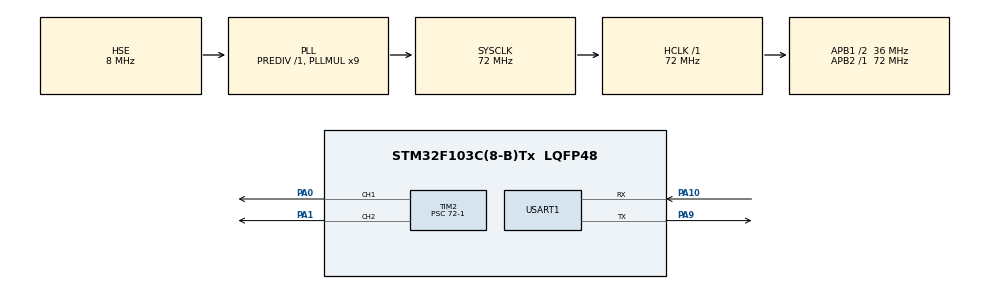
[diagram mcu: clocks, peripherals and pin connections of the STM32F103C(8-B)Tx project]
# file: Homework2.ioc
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Mcu.Family=STM32F1
Mcu.Name=STM32F103C(8-B)Tx
Mcu.Package=LQFP48
NVIC.PriorityGroup=NVIC_PRIORITYGROUP_4
NVIC.USART1_IRQn=true\:0\:0\:false\:false\:true\:true\:true\:true
PA0-WKUP.Signal=S_TIM2_CH1_ETR
PA1.Signal=S_TIM2_CH2
PA10.Mode=Asynchronous
PA10.Signal=USART1_RX
PA13.Mode=Serial_Wire
PA13.Signal=SYS_JTMS-SWDIO
PA14.Mode=Serial_Wire
PA14.Signal=SYS_JTCK-SWCLK
PA9.Mode=Asynchronous
PA9.Signal=USART1_TX
PD0-OSC_IN.Mode=HSE-External-Oscillator
PD0-OSC_IN.Signal=RCC_OSC_IN
PD1-OSC_OUT.Mode=HSE-External-Oscillator
PD1-OSC_OUT.Signal=RCC_OSC_OUT
ProjectManager.HeapSize=0x200
ProjectManager.StackSize=0x400
ProjectManager.TargetToolchain=CMake
RCC.AHBFreq_Value=72000000
RCC.APB1CLKDivider=RCC_HCLK_DIV2
RCC.APB1Freq_Value=36000000
RCC.APB1TimFreq_Value=72000000
RCC.APB2Freq_Value=72000000
RCC.APB2TimFreq_Value=72000000
RCC.HCLKFreq_Value=72000000
RCC.PLLMUL=RCC_PLL_MUL9
RCC.PLLSourceVirtual=RCC_PLLSOURCE_HSE
RCC.SYSCLKFreq_VALUE=72000000
RCC.SYSCLKSource=RCC_SYSCLKSOURCE_PLLCLK
RCC.USBFreq_Value=72000000
SH.S_TIM2_CH1_ETR.0=TIM2_CH1,PWM Generation1 CH1
SH.S_TIM2_CH2.0=TIM2_CH2,PWM Generation2 CH2
TIM2.Channel-PWM\ Generation1\ CH1=TIM_CHANNEL_1
TIM2.Channel-PWM\ Generation2\ CH2=TIM_CHANNEL_2
TIM2.Period=20000-1
TIM2.Prescaler=72-1
TIM2.Pulse-PWM\ Generation1\ CH1=1500
TIM2.Pulse-PWM\ Generation2\ CH2=1500
USART1.VirtualMode=VM_ASYNC
VP_TIM2_VS_ClockSourceINT.Mode=Internal
board=custom

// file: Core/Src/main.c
/* USER CODE BEGIN Header */
/**
  ******************************************************************************
  * @file           : main.c
  * @brief          : Main program body
  ******************************************************************************
  * @attention
  *
  * Copyright (c) 2026 STMicroelectronics.
  * All rights reserved.
  *
  * This software is licensed under terms that can be found in the LICENSE file
  * in the root directory of this software component.
  * If no LICENSE file comes with this software, it is provided AS-IS.
  *
  ******************************************************************************
  */
/* USER CODE END Header */
#include "main.h"

/* USER CODE BEGIN Includes */
#include <stdio.h>
/* USER CODE END Includes */

TIM_HandleTypeDef htim2;

UART_HandleTypeDef huart1;

/* USER CODE BEGIN PV */
uint8_t data;
volatile uint8_t cmd;
volatile uint8_t cmd_flag;
int yaw   = 90;
int pitch = 90;
/* USER CODE END PV */

void SystemClock_Config(void);
static void MX_GPIO_Init(void);
static void MX_TIM2_Init(void);
static void MX_USART1_UART_Init(void);
/* USER CODE BEGIN PFP */
static void servo_write(int y, int p);
/* USER CODE END PFP */

/* USER CODE BEGIN 0 */
static void servo_write(int y, int p)
{
  uint16_t data_y = (uint16_t)(500 + y * 2000 / 180);
  uint16_t data_p = (uint16_t)(500 + p * 2000 / 180);
  __HAL_TIM_SET_COMPARE(&htim2, TIM_CHANNEL_1, data_y);
  __HAL_TIM_SET_COMPARE(&htim2, TIM_CHANNEL_2, data_p);
}

void HAL_UART_RxCpltCallback(UART_HandleTypeDef *huart)
{
  if (huart == &huart1)
  {
    cmd = data;
    cmd_flag = 1;
    HAL_UART_Receive_IT(&huart1, &data, 1);
  }
}
/* USER CODE END 0 */

int main(void)
{

  /* MCU Configuration--------------------------------------------------------*/

  /* Reset of all peripherals, Initializes the Flash interface and the Systick. */
  HAL_Init();

  /* Configure the system clock */
  SystemClock_Config();

  /* Initialize all configured peripherals */
  MX_GPIO_Init();
  MX_TIM2_Init();
  MX_USART1_UART_Init();
  /* USER CODE BEGIN 2 */
  HAL_TIM_PWM_Start(&htim2, TIM_CHANNEL_1);
  HAL_TIM_PWM_Start(&htim2, TIM_CHANNEL_2);
  servo_write(yaw, pitch);
  HAL_UART_Receive_IT(&huart1, &data, 1);
  /* USER CODE END 2 */

  /* Infinite loop */
  while (1)
  {

    /* USER CODE BEGIN 3 */
    if (cmd_flag == 1) {
      int c = cmd;
      cmd_flag = 0;
      int moved = 1;
      switch (c) {
        case 'w': pitch += 5; break;
        case 's': pitch -= 5; break;
        case 'a': yaw   -= 5; break;
        case 'd': yaw   += 5; break;
        case 'r': yaw = 90; pitch = 90; break;
        default: moved = 0; break;
      }
      if (moved) {
        if (yaw < 0)   yaw = 0;
        if (yaw > 180) yaw = 180;
        if (pitch < 0)   pitch = 0;
        if (pitch > 180) pitch = 180;
        servo_write(yaw, pitch);
        printf("Yaw=%d Pitch=%d\r\n", yaw, pitch);
      }

    }
  }
  /* USER CODE END 3 */
}

void SystemClock_Config(void)
{
  RCC_OscInitTypeDef RCC_OscInitStruct = {0};
  RCC_ClkInitTypeDef RCC_ClkInitStruct = {0};

  /** Initializes the RCC Oscillators according to the specified parameters
  * in the RCC_OscInitTypeDef structure.
  */
  RCC_OscInitStruct.OscillatorType = RCC_OSCILLATORTYPE_HSE;
  RCC_OscInitStruct.HSEState = RCC_HSE_ON;
  RCC_OscInitStruct.HSEPredivValue = RCC_HSE_PREDIV_DIV1;
  RCC_OscInitStruct.HSIState = RCC_HSI_ON;
  RCC_OscInitStruct.PLL.PLLState = RCC_PLL_ON;
  RCC_OscInitStruct.PLL.PLLSource = RCC_PLLSOURCE_HSE;
  RCC_OscInitStruct.PLL.PLLMUL = RCC_PLL_MUL9;
  if (HAL_RCC_OscConfig(&RCC_OscInitStruct) != HAL_OK)
  {
    Error_Handler();
  }

  /** Initializes the CPU, AHB and APB buses clocks
  */
  RCC_ClkInitStruct.ClockType = RCC_CLOCKTYPE_HCLK|RCC_CLOCKTYPE_SYSCLK
                              |RCC_CLOCKTYPE_PCLK1|RCC_CLOCKTYPE_PCLK2;
  RCC_ClkInitStruct.SYSCLKSource = RCC_SYSCLKSOURCE_PLLCLK;
  RCC_ClkInitStruct.AHBCLKDivider = RCC_SYSCLK_DIV1;
  RCC_ClkInitStruct.APB1CLKDivider = RCC_HCLK_DIV2;
  RCC_ClkInitStruct.APB2CLKDivider = RCC_HCLK_DIV1;

  if (HAL_RCC_ClockConfig(&RCC_ClkInitStruct, FLASH_LATENCY_2) != HAL_OK)
  {
    Error_Handler();
  }
}

static void MX_TIM2_Init(void)
{

  TIM_ClockConfigTypeDef sClockSourceConfig = {0};
  TIM_MasterConfigTypeDef sMasterConfig = {0};
  TIM_OC_InitTypeDef sConfigOC = {0};

  htim2.Instance = TIM2;
  htim2.Init.Prescaler = 72-1;
  htim2.Init.CounterMode = TIM_COUNTERMODE_UP;
  htim2.Init.Period = 20000-1;
  htim2.Init.ClockDivision = TIM_CLOCKDIVISION_DIV1;
  htim2.Init.AutoReloadPreload = TIM_AUTORELOAD_PRELOAD_DISABLE;
  if (HAL_TIM_Base_Init(&htim2) != HAL_OK)
  {
    Error_Handler();
  }
  sClockSourceConfig.ClockSource = TIM_CLOCKSOURCE_INTERNAL;
  if (HAL_TIM_ConfigClockSource(&htim2, &sClockSourceConfig) != HAL_OK)
  {
    Error_Handler();
  }
  if (HAL_TIM_PWM_Init(&htim2) != HAL_OK)
  {
    Error_Handler();
  }
  sMasterConfig.MasterOutputTrigger = TIM_TRGO_RESET;
  sMasterConfig.MasterSlaveMode = TIM_MASTERSLAVEMODE_DISABLE;
  if (HAL_TIMEx_MasterConfigSynchronization(&htim2, &sMasterConfig) != HAL_OK)
  {
    Error_Handler();
  }
  sConfigOC.OCMode = TIM_OCMODE_PWM1;
  sConfigOC.Pulse = 1500;
  sConfigOC.OCPolarity = TIM_OCPOLARITY_HIGH;
  sConfigOC.OCFastMode = TIM_OCFAST_DISABLE;
  if (HAL_TIM_PWM_ConfigChannel(&htim2, &sConfigOC, TIM_CHANNEL_1) != HAL_OK)
  {
    Error_Handler();
  }
  if (HAL_TIM_PWM_ConfigChannel(&htim2, &sConfigOC, TIM_CHANNEL_2) != HAL_OK)
  {
    Error_Handler();
  }
  HAL_TIM_MspPostInit(&htim2);

}

static void MX_USART1_UART_Init(void)
{

  huart1.Instance = USART1;
  huart1.Init.BaudRate = 115200;
  huart1.Init.WordLength = UART_WORDLENGTH_8B;
  huart1.Init.StopBits = UART_STOPBITS_1;
  huart1.Init.Parity = UART_PARITY_NONE;
  huart1.Init.Mode = UART_MODE_TX_RX;
  huart1.Init.HwFlowCtl = UART_HWCONTROL_NONE;
  huart1.Init.OverSampling = UART_OVERSAMPLING_16;
  if (HAL_UART_Init(&huart1) != HAL_OK)
  {
    Error_Handler();
  }

}

static void MX_GPIO_Init(void)
{

  /* GPIO Ports Clock Enable */
  __HAL_RCC_GPIOD_CLK_ENABLE();
  __HAL_RCC_GPIOA_CLK_ENABLE();

}

/* USER CODE BEGIN 4 */
int __io_putchar(int ch)
{
  HAL_UART_Transmit(&huart1, (uint8_t *)&ch, 1, 10);
  return ch;
}
/* USER CODE END 4 */

void Error_Handler(void)
{
  __disable_irq();
  while (1)
  {
  }
}
